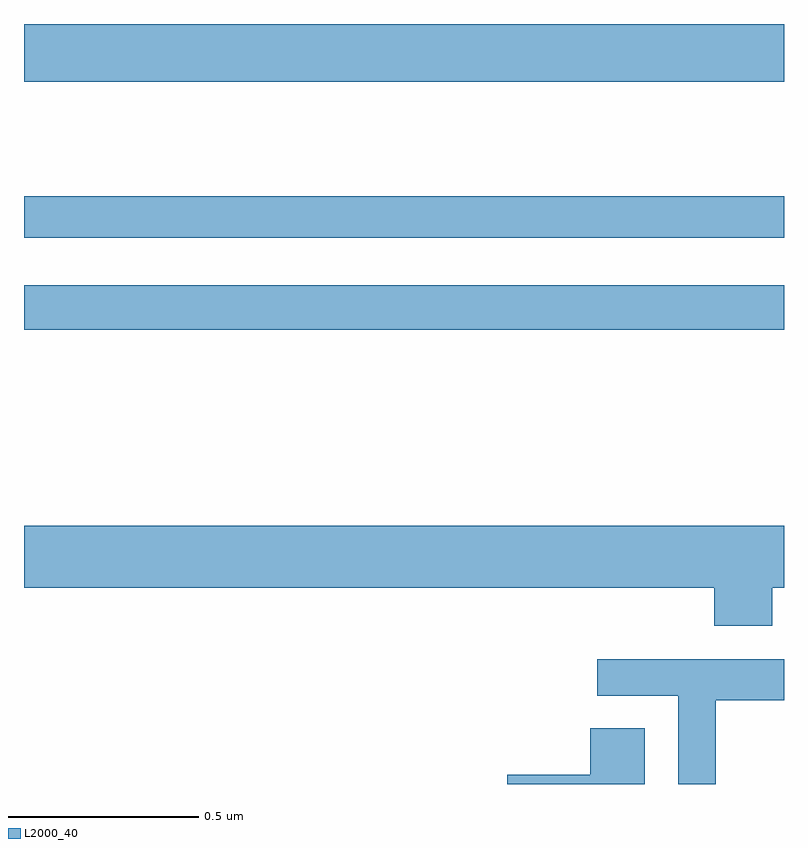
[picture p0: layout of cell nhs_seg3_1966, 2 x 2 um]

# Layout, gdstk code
import gdstk
lib = gdstk.Library(unit=1e-6, precision=1e-09)
def R(c, l, rs):  # rectangles x0, y0, x1, y1
    for r in rs: c.add(gdstk.rectangle(r[:2], r[2:], *l))
def P(c, l, *ps):  # polygons
    for p in ps: c.add(gdstk.Polygon(p, *l))
L2000_40 = (2000, 40)

nhs_seg3_1966 = lib.new_cell('nhs_seg3_1966')
R(nhs_seg3_1966, L2000_40, [(135,701.596,137,701.712), (135,701.838,137,701.947), (135,702.248,137,702.4)])
P(nhs_seg3_1966, L2000_40, [(136.969,700.916),(137,700.916),(137,701.08),(135,701.08),(135,700.916),(136.817,700.916),(136.817,700.817),(136.969,700.817)],
  [(136.821,700.62),(137,700.62),(137,700.728),(136.509,700.728),(136.509,700.632),(136.722,700.632),(136.722,700.4),(136.821,700.4)],
  [(136.633,700.547),(136.49,700.547),(136.49,700.424),(136.272,700.424),(136.272,700.4),(136.633,700.4)])

lib.write_gds('nhs_seg3_1966.gds')
